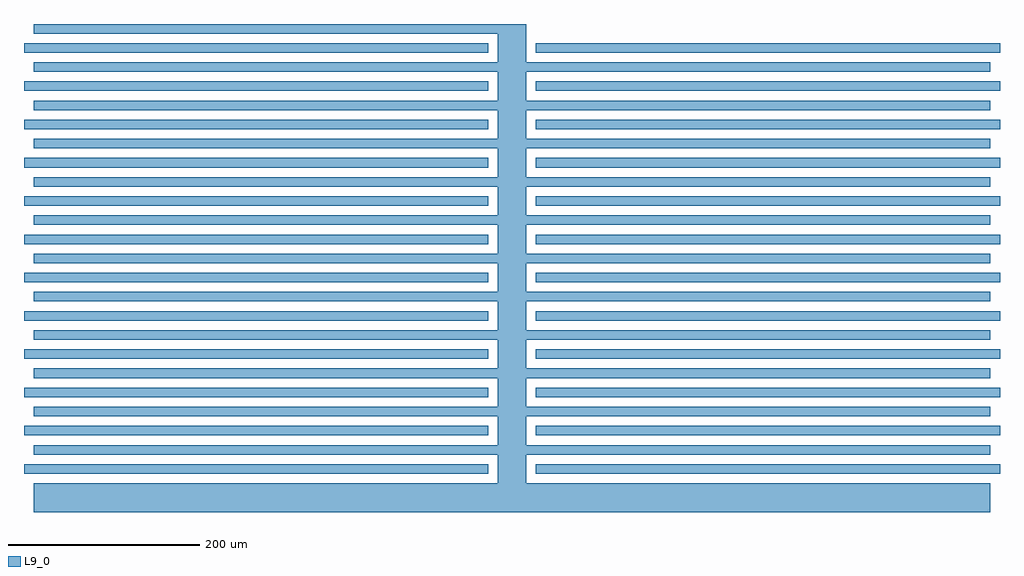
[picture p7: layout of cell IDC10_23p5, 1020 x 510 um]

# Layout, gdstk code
import gdstk
lib = gdstk.Library(unit=1e-6, precision=1e-09)
def R(c, l, rs):  # rectangles x0, y0, x1, y1
    for r in rs: c.add(gdstk.rectangle(r[:2], r[2:], *l))
L9_0 = (9, 0)

idc10_0p5 = lib.new_cell('IDC10_0p5')
R(idc10_0p5, L9_0, [(-2750,605,-2265,615)])

idc10_1 = lib.new_cell('IDC10_1')
R(idc10_1, L9_0, [(-2760,585,-2275,595), (-2225,585,-1740,595)])

idc_section = lib.new_cell('IDC_section')
R(idc_section, L9_0, [(-5760,145,-5275,155), (-5225,145,-4740,155), (-5750,165,-5265,175), (-5235,165,-4750,175)])

idc10_23p5 = lib.new_cell('IDC10_23p5')
R(idc10_23p5, L9_0, [(-2750,105,-1750,135), (-2265,135,-2235,615)])
idc10_23p5.add(gdstk.Reference(idc10_0p5, (0,0)))
idc10_23p5.add(gdstk.Reference(idc10_1, (0,0)))
r = gdstk.Reference(idc_section, (3000,0)); r.repetition = gdstk.Repetition(1, 11, v1=(1020,0), v2=(0,40)); idc10_23p5.add(r)

lib.write_gds('IDC10_23p5.gds')
